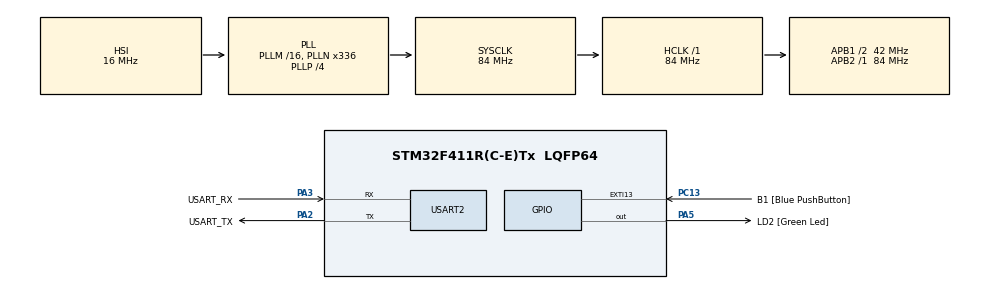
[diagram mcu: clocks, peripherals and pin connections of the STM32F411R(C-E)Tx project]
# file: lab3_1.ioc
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FREERTOS.Tasks01=defaultTask,0,128,StartDefaultTask,Default,NULL,Dynamic,NULL,NULL
Mcu.Family=STM32F4
Mcu.Name=STM32F411R(C-E)Tx
Mcu.Package=LQFP64
NVIC.PriorityGroup=NVIC_PRIORITYGROUP_4
NVIC.TIM1_UP_TIM10_IRQn=true\:0\:0\:false\:false\:true\:false\:false\:true
NVIC.TimeBase=TIM1_UP_TIM10_IRQn
NVIC.TimeBaseIP=TIM1
PA13.GPIO_Label=TMS
PA13.Mode=Serial_Wire
PA13.Signal=SYS_JTMS-SWDIO
PA14.GPIO_Label=TCK
PA14.Mode=Serial_Wire
PA14.Signal=SYS_JTCK-SWCLK
PA2.GPIO_Label=USART_TX
PA2.Mode=Asynchronous
PA2.Signal=USART2_TX
PA3.GPIO_Label=USART_RX
PA3.Mode=Asynchronous
PA3.Signal=USART2_RX
PA5.GPIO_Label=LD2 [Green Led]
PA5.Signal=GPIO_Output
PB3.GPIO_Label=SWO
PB3.Signal=SYS_JTDO-SWO
PC13-ANTI_TAMP.GPIO_Label=B1 [Blue PushButton]
PC13-ANTI_TAMP.GPIO_ModeDefaultEXTI=GPIO_MODE_IT_FALLING
PC13-ANTI_TAMP.Signal=GPXTI13
PC14-OSC32_IN.Mode=LSE-External-Oscillator
PC14-OSC32_IN.Signal=RCC_OSC32_IN
PC15-OSC32_OUT.Mode=LSE-External-Oscillator
PC15-OSC32_OUT.Signal=RCC_OSC32_OUT
PH0\ -\ OSC_IN.Mode=HSE-External-Clock-Source
PH0\ -\ OSC_IN.Signal=RCC_OSC_IN
PH1\ -\ OSC_OUT.Mode=HSE-External-Clock-Source
PH1\ -\ OSC_OUT.Signal=RCC_OSC_OUT
ProjectManager.HeapSize=0x200
ProjectManager.StackSize=0x400
ProjectManager.TargetToolchain=STM32CubeIDE
RCC.48MHZClocksFreq_Value=84000000
RCC.AHBFreq_Value=84000000
RCC.APB1CLKDivider=RCC_HCLK_DIV2
RCC.APB1Freq_Value=42000000
RCC.APB1TimFreq_Value=84000000
RCC.APB2Freq_Value=84000000
RCC.APB2TimFreq_Value=84000000
RCC.CortexFreq_Value=84000000
RCC.FLatency-AdvancedSettings=FLASH_LATENCY_2
RCC.HCLKFreq_Value=84000000
RCC.HSE_VALUE=8000000
RCC.HSI_VALUE=16000000
RCC.PLLN=336
RCC.PLLP=RCC_PLLP_DIV4
RCC.SYSCLKFreq_VALUE=84000000
RCC.SYSCLKSource=RCC_SYSCLKSOURCE_PLLCLK
RCC.VCOOutputFreq_Value=336000000
USART2.VirtualMode=VM_ASYNC
VP_FREERTOS_VS_CMSIS_V1.Mode=CMSIS_V1
VP_SYS_VS_tim1.Mode=TIM1
board=NUCLEO-F411RE

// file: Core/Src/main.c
/* USER CODE BEGIN Header */
/**
  ******************************************************************************
  * @file           : main.c
  * @brief          : Main program body
  ******************************************************************************
  * @attention
  *
  * <h2><center>&copy; Copyright (c) 2021 STMicroelectronics.
  * All rights reserved.</center></h2>
  *
  * This software component is licensed by ST under BSD 3-Clause license,
  * the "License"; You may not use this file except in compliance with the
  * License. You may obtain a copy of the License at:
  *                        opensource.org/licenses/BSD-3-Clause
  *
  ******************************************************************************
  */
/* USER CODE END Header */
#include "main.h"
#include "cmsis_os.h"

UART_HandleTypeDef huart2;

osThreadId defaultTaskHandle;

void SystemClock_Config(void);
static void MX_GPIO_Init(void);
static void MX_USART2_UART_Init(void);
void StartDefaultTask(void const * argument);

int main(void)
{

  /* MCU Configuration--------------------------------------------------------*/

  /* Reset of all peripherals, Initializes the Flash interface and the Systick. */
  HAL_Init();

  /* Configure the system clock */
  SystemClock_Config();

  /* Initialize all configured peripherals */
  MX_GPIO_Init();
  MX_USART2_UART_Init();

  /* Create the thread(s) */
  /* definition and creation of defaultTask */
  osThreadDef(defaultTask, StartDefaultTask, osPriorityNormal, 0, 128);
  defaultTaskHandle = osThreadCreate(osThread(defaultTask), NULL);

  /* Start scheduler */
  osKernelStart();

  /* We should never get here as control is now taken by the scheduler */
  /* Infinite loop */
  while (1)
  {

  }
}

void SystemClock_Config(void)
{
  RCC_OscInitTypeDef RCC_OscInitStruct = {0};
  RCC_ClkInitTypeDef RCC_ClkInitStruct = {0};

  /** Configure the main internal regulator output voltage
  */
  __HAL_RCC_PWR_CLK_ENABLE();
  __HAL_PWR_VOLTAGESCALING_CONFIG(PWR_REGULATOR_VOLTAGE_SCALE1);
  /** Initializes the RCC Oscillators according to the specified parameters
  * in the RCC_OscInitTypeDef structure.
  */
  RCC_OscInitStruct.OscillatorType = RCC_OSCILLATORTYPE_HSI;
  RCC_OscInitStruct.HSIState = RCC_HSI_ON;
  RCC_OscInitStruct.HSICalibrationValue = RCC_HSICALIBRATION_DEFAULT;
  RCC_OscInitStruct.PLL.PLLState = RCC_PLL_ON;
  RCC_OscInitStruct.PLL.PLLSource = RCC_PLLSOURCE_HSI;
  RCC_OscInitStruct.PLL.PLLM = 16;
  RCC_OscInitStruct.PLL.PLLN = 336;
  RCC_OscInitStruct.PLL.PLLP = RCC_PLLP_DIV4;
  RCC_OscInitStruct.PLL.PLLQ = 4;
  if (HAL_RCC_OscConfig(&RCC_OscInitStruct) != HAL_OK)
  {
    Error_Handler();
  }
  /** Initializes the CPU, AHB and APB buses clocks
  */
  RCC_ClkInitStruct.ClockType = RCC_CLOCKTYPE_HCLK|RCC_CLOCKTYPE_SYSCLK
                              |RCC_CLOCKTYPE_PCLK1|RCC_CLOCKTYPE_PCLK2;
  RCC_ClkInitStruct.SYSCLKSource = RCC_SYSCLKSOURCE_PLLCLK;
  RCC_ClkInitStruct.AHBCLKDivider = RCC_SYSCLK_DIV1;
  RCC_ClkInitStruct.APB1CLKDivider = RCC_HCLK_DIV2;
  RCC_ClkInitStruct.APB2CLKDivider = RCC_HCLK_DIV1;

  if (HAL_RCC_ClockConfig(&RCC_ClkInitStruct, FLASH_LATENCY_2) != HAL_OK)
  {
    Error_Handler();
  }
}

static void MX_USART2_UART_Init(void)
{

  huart2.Instance = USART2;
  huart2.Init.BaudRate = 115200;
  huart2.Init.WordLength = UART_WORDLENGTH_8B;
  huart2.Init.StopBits = UART_STOPBITS_1;
  huart2.Init.Parity = UART_PARITY_NONE;
  huart2.Init.Mode = UART_MODE_TX_RX;
  huart2.Init.HwFlowCtl = UART_HWCONTROL_NONE;
  huart2.Init.OverSampling = UART_OVERSAMPLING_16;
  if (HAL_UART_Init(&huart2) != HAL_OK)
  {
    Error_Handler();
  }

}

static void MX_GPIO_Init(void)
{
  GPIO_InitTypeDef GPIO_InitStruct = {0};

  /* GPIO Ports Clock Enable */
  __HAL_RCC_GPIOC_CLK_ENABLE();
  __HAL_RCC_GPIOH_CLK_ENABLE();
  __HAL_RCC_GPIOA_CLK_ENABLE();
  __HAL_RCC_GPIOB_CLK_ENABLE();

  /*Configure GPIO pin Output Level */
  HAL_GPIO_WritePin(LD2_GPIO_Port, LD2_Pin, GPIO_PIN_RESET);

  /*Configure GPIO pin : B1_Pin */
  GPIO_InitStruct.Pin = B1_Pin;
  GPIO_InitStruct.Mode = GPIO_MODE_IT_FALLING;
  GPIO_InitStruct.Pull = GPIO_NOPULL;
  HAL_GPIO_Init(B1_GPIO_Port, &GPIO_InitStruct);

  /*Configure GPIO pin : LD2_Pin */
  GPIO_InitStruct.Pin = LD2_Pin;
  GPIO_InitStruct.Mode = GPIO_MODE_OUTPUT_PP;
  GPIO_InitStruct.Pull = GPIO_NOPULL;
  GPIO_InitStruct.Speed = GPIO_SPEED_FREQ_LOW;
  HAL_GPIO_Init(LD2_GPIO_Port, &GPIO_InitStruct);

}

/* USER CODE BEGIN 4 */
void led_thread(void const *args) {
	while(1) {
		HAL_GPIO_TogglePin(GPIOA, GPIO_PIN_5);
		osDelay(18);
	}
}
void uart1_thread(void const *args) {
	while(1) {
		HAL_UART_Transmit(&huart2, "A", 1, 1000);
		osDelay(50);
	}
}
void uart2_thread(void const *args) {
	while(1) {
		HAL_UART_Transmit(&huart2, "B", 1, 1000);
		osDelay(128);
	}
}
/* USER CODE END 4 */

void StartDefaultTask(void const * argument)
{
  /* USER CODE BEGIN 5 */
	osThreadDef(led, led_thread, osPriorityNormal, 0, 128);
	osThreadCreate(osThread(led), NULL);
	osThreadDef(uart1, uart1_thread, osPriorityNormal, 0, 128);
	osThreadCreate(osThread(uart1), NULL);
	osThreadDef(uart2, uart2_thread, osPriorityNormal, 0, 128);
	osThreadCreate(osThread(uart2), NULL);
  /* Infinite loop */
  for(;;)
  {
    osDelay(1);
  }
  /* USER CODE END 5 */
}

 /**
  * @brief  Period elapsed callback in non blocking mode
  * @note   This function is called  when TIM1 interrupt took place, inside
  * HAL_TIM_IRQHandler(). It makes a direct call to HAL_IncTick() to increment
  * a global variable "uwTick" used as application time base.
  * @param  htim : TIM handle
  * @retval None
  */
void HAL_TIM_PeriodElapsedCallback(TIM_HandleTypeDef *htim)
{
  if (htim->Instance == TIM1) {
    HAL_IncTick();
  }
}

void Error_Handler(void)
{
  __disable_irq();
  while (1)
  {
  }
}

/************************ (C) COPYRIGHT STMicroelectronics *****END OF FILE****/
